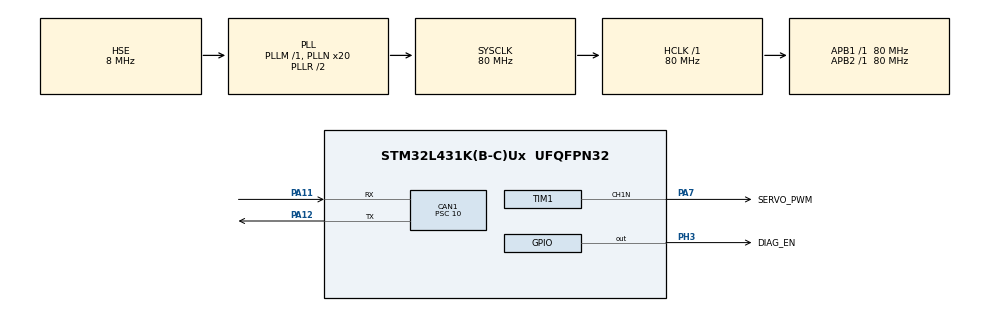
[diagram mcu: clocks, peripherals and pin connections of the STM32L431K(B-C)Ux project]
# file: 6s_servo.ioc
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CAN1.BS1=CAN_BS1_5TQ
CAN1.BS2=CAN_BS2_2TQ
CAN1.CalculateBaudRate=1000000
CAN1.CalculateTimeBit=1000
CAN1.CalculateTimeQuantum=125.0
CAN1.Prescaler=10
Mcu.Family=STM32L4
Mcu.Name=STM32L431K(B-C)Ux
Mcu.Package=UFQFPN32
NVIC.CAN1_RX0_IRQn=true\:0\:0\:false\:false\:true\:true\:true\:true
NVIC.PriorityGroup=NVIC_PRIORITYGROUP_4
PA0.Mode=HSE-External-Clock-Source-for-LittleOrca
PA0.Signal=RCC_CK_IN
PA11.Mode=CAN_Activate
PA11.Signal=CAN1_RX
PA12.Mode=CAN_Activate
PA12.Signal=CAN1_TX
PA13\ (JTMS-SWDIO).Mode=Trace_Asynchronous_SW
PA13\ (JTMS-SWDIO).Signal=SYS_JTMS-SWDIO
PA14\ (JTCK-SWCLK).Mode=Trace_Asynchronous_SW
PA14\ (JTCK-SWCLK).Signal=SYS_JTCK-SWCLK
PA7.GPIO_Label=SERVO_PWM
PA7.Mode=PWM Generation1 CH1N
PA7.Signal=TIM1_CH1N
PB3\ (JTDO-TRACESWO).Mode=Trace_Asynchronous_SW
PB3\ (JTDO-TRACESWO).Signal=SYS_JTDO-SWO
PH3-BOOT0.GPIO_Label=DIAG_EN
PH3-BOOT0.GPIO_Speed=GPIO_SPEED_FREQ_VERY_HIGH
PH3-BOOT0.Signal=GPIO_Output
ProjectManager.HeapSize=0x200
ProjectManager.StackSize=0x400
ProjectManager.TargetToolchain=STM32CubeIDE
RCC.ADCFreq_Value=32000000
RCC.AHBFreq_Value=80000000
RCC.APB1Freq_Value=80000000
RCC.APB1TimFreq_Value=80000000
RCC.APB2Freq_Value=80000000
RCC.APB2TimFreq_Value=80000000
RCC.CortexFreq_Value=80000000
RCC.HCLKFreq_Value=80000000
RCC.HSE_VALUE=8000000
RCC.HSI48_VALUE=48000000
RCC.HSI_VALUE=16000000
RCC.LSE_VALUE=32768
RCC.MSI_VALUE=4000000
RCC.PLLN=20
RCC.PLLSourceVirtual=RCC_PLLSOURCE_HSE
RCC.SYSCLKFreq_VALUE=80000000
RCC.SYSCLKSource=RCC_SYSCLKSOURCE_PLLCLK
RCC.VCOOutputFreq_Value=160000000
TIM1.Channel-PWM\ Generation1\ CH1N=TIM_CHANNEL_1
TIM1.Period=63999
TIM1.Prescaler=24
VP_TIM1_VS_ClockSourceINT.Mode=Internal
board=custom

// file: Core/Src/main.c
/* USER CODE BEGIN Header */
/**
  ******************************************************************************
  * @file           : main.c
  * @brief          : Main program body
  ******************************************************************************
  * @attention
  *
  * Copyright (c) 2025 STMicroelectronics.
  * All rights reserved.
  *
  * This software is licensed under terms that can be found in the LICENSE file
  * in the root directory of this software component.
  * If no LICENSE file comes with this software, it is provided AS-IS.
  *
  ******************************************************************************
  */
/* USER CODE END Header */
#include "main.h"

/* USER CODE BEGIN Includes */
#include "can.h"
#include "dronecan_msgs.h"
#include "servo.h"
#include "pinecan.h"
/* USER CODE END Includes */

/* USER CODE BEGIN PTD */
extern struct uavcan_protocol_NodeStatus nodeStatus;
/* USER CODE END PTD */

CAN_HandleTypeDef hcan1;

TIM_HandleTypeDef htim1;

void SystemClock_Config(void);
static void MX_GPIO_Init(void);
static void MX_CAN1_Init(void);
static void MX_TIM1_Init(void);

int main(void)
{

  /* USER CODE BEGIN 1 */
  nodeStatus.health = UAVCAN_PROTOCOL_NODESTATUS_HEALTH_OK;
  nodeStatus.mode = UAVCAN_PROTOCOL_NODESTATUS_MODE_INITIALIZATION;
  nodeStatus.sub_mode = 0;
  nodeStatus.vendor_specific_status_code = 0;
  /* USER CODE END 1 */

  /* MCU Configuration--------------------------------------------------------*/

  /* Reset of all peripherals, Initializes the Flash interface and the Systick. */
  HAL_Init();

  /* Configure the system clock */
  SystemClock_Config();

  /* Initialize all configured peripherals */
  MX_GPIO_Init();
  MX_CAN1_Init();
  MX_TIM1_Init();
  /* USER CODE BEGIN 2 */
  initServos();
  initCAN();

  nodeStatus.mode = UAVCAN_PROTOCOL_NODESTATUS_MODE_OPERATIONAL;
  /* USER CODE END 2 */

  /* Infinite loop */
  /* USER CODE BEGIN WHILE */
  static uint32_t currentTick = 0;
  while (1)
  {
    if (HAL_GetTick() != currentTick) {
      currentTick = HAL_GetTick();
      pinecan1ms();
    }

    /* USER CODE END WHILE */

  }
}

void SystemClock_Config(void)
{
  RCC_OscInitTypeDef RCC_OscInitStruct = {0};
  RCC_ClkInitTypeDef RCC_ClkInitStruct = {0};

  /** Configure the main internal regulator output voltage
  */
  if (HAL_PWREx_ControlVoltageScaling(PWR_REGULATOR_VOLTAGE_SCALE1) != HAL_OK)
  {
    Error_Handler();
  }

  /** Initializes the RCC Oscillators according to the specified parameters
  * in the RCC_OscInitTypeDef structure.
  */
  RCC_OscInitStruct.OscillatorType = RCC_OSCILLATORTYPE_HSE;
  RCC_OscInitStruct.HSEState = RCC_HSE_BYPASS;
  RCC_OscInitStruct.PLL.PLLState = RCC_PLL_ON;
  RCC_OscInitStruct.PLL.PLLSource = RCC_PLLSOURCE_HSE;
  RCC_OscInitStruct.PLL.PLLM = 1;
  RCC_OscInitStruct.PLL.PLLN = 20;
  RCC_OscInitStruct.PLL.PLLP = RCC_PLLP_DIV7;
  RCC_OscInitStruct.PLL.PLLQ = RCC_PLLQ_DIV2;
  RCC_OscInitStruct.PLL.PLLR = RCC_PLLR_DIV2;
  if (HAL_RCC_OscConfig(&RCC_OscInitStruct) != HAL_OK)
  {
    Error_Handler();
  }

  /** Initializes the CPU, AHB and APB buses clocks
  */
  RCC_ClkInitStruct.ClockType = RCC_CLOCKTYPE_HCLK|RCC_CLOCKTYPE_SYSCLK
                              |RCC_CLOCKTYPE_PCLK1|RCC_CLOCKTYPE_PCLK2;
  RCC_ClkInitStruct.SYSCLKSource = RCC_SYSCLKSOURCE_PLLCLK;
  RCC_ClkInitStruct.AHBCLKDivider = RCC_SYSCLK_DIV1;
  RCC_ClkInitStruct.APB1CLKDivider = RCC_HCLK_DIV1;
  RCC_ClkInitStruct.APB2CLKDivider = RCC_HCLK_DIV1;

  if (HAL_RCC_ClockConfig(&RCC_ClkInitStruct, FLASH_LATENCY_4) != HAL_OK)
  {
    Error_Handler();
  }
}

static void MX_CAN1_Init(void)
{

  hcan1.Instance = CAN1;
  hcan1.Init.Prescaler = 10;
  hcan1.Init.Mode = CAN_MODE_NORMAL;
  hcan1.Init.SyncJumpWidth = CAN_SJW_1TQ;
  hcan1.Init.TimeSeg1 = CAN_BS1_5TQ;
  hcan1.Init.TimeSeg2 = CAN_BS2_2TQ;
  hcan1.Init.TimeTriggeredMode = DISABLE;
  hcan1.Init.AutoBusOff = DISABLE;
  hcan1.Init.AutoWakeUp = DISABLE;
  hcan1.Init.AutoRetransmission = DISABLE;
  hcan1.Init.ReceiveFifoLocked = DISABLE;
  hcan1.Init.TransmitFifoPriority = DISABLE;
  if (HAL_CAN_Init(&hcan1) != HAL_OK)
  {
    Error_Handler();
  }

}

static void MX_TIM1_Init(void)
{

  TIM_ClockConfigTypeDef sClockSourceConfig = {0};
  TIM_MasterConfigTypeDef sMasterConfig = {0};
  TIM_OC_InitTypeDef sConfigOC = {0};
  TIM_BreakDeadTimeConfigTypeDef sBreakDeadTimeConfig = {0};

  htim1.Instance = TIM1;
  htim1.Init.Prescaler = 24;
  htim1.Init.CounterMode = TIM_COUNTERMODE_UP;
  htim1.Init.Period = 63999;
  htim1.Init.ClockDivision = TIM_CLOCKDIVISION_DIV1;
  htim1.Init.RepetitionCounter = 0;
  htim1.Init.AutoReloadPreload = TIM_AUTORELOAD_PRELOAD_DISABLE;
  if (HAL_TIM_Base_Init(&htim1) != HAL_OK)
  {
    Error_Handler();
  }
  sClockSourceConfig.ClockSource = TIM_CLOCKSOURCE_INTERNAL;
  if (HAL_TIM_ConfigClockSource(&htim1, &sClockSourceConfig) != HAL_OK)
  {
    Error_Handler();
  }
  if (HAL_TIM_PWM_Init(&htim1) != HAL_OK)
  {
    Error_Handler();
  }
  sMasterConfig.MasterOutputTrigger = TIM_TRGO_RESET;
  sMasterConfig.MasterOutputTrigger2 = TIM_TRGO2_RESET;
  sMasterConfig.MasterSlaveMode = TIM_MASTERSLAVEMODE_DISABLE;
  if (HAL_TIMEx_MasterConfigSynchronization(&htim1, &sMasterConfig) != HAL_OK)
  {
    Error_Handler();
  }
  sConfigOC.OCMode = TIM_OCMODE_PWM1;
  sConfigOC.Pulse = 0;
  sConfigOC.OCPolarity = TIM_OCPOLARITY_HIGH;
  sConfigOC.OCNPolarity = TIM_OCNPOLARITY_HIGH;
  sConfigOC.OCFastMode = TIM_OCFAST_DISABLE;
  sConfigOC.OCIdleState = TIM_OCIDLESTATE_RESET;
  sConfigOC.OCNIdleState = TIM_OCNIDLESTATE_RESET;
  if (HAL_TIM_PWM_ConfigChannel(&htim1, &sConfigOC, TIM_CHANNEL_1) != HAL_OK)
  {
    Error_Handler();
  }
  sBreakDeadTimeConfig.OffStateRunMode = TIM_OSSR_DISABLE;
  sBreakDeadTimeConfig.OffStateIDLEMode = TIM_OSSI_DISABLE;
  sBreakDeadTimeConfig.LockLevel = TIM_LOCKLEVEL_OFF;
  sBreakDeadTimeConfig.DeadTime = 0;
  sBreakDeadTimeConfig.BreakState = TIM_BREAK_DISABLE;
  sBreakDeadTimeConfig.BreakPolarity = TIM_BREAKPOLARITY_HIGH;
  sBreakDeadTimeConfig.BreakFilter = 0;
  sBreakDeadTimeConfig.Break2State = TIM_BREAK2_DISABLE;
  sBreakDeadTimeConfig.Break2Polarity = TIM_BREAK2POLARITY_HIGH;
  sBreakDeadTimeConfig.Break2Filter = 0;
  sBreakDeadTimeConfig.AutomaticOutput = TIM_AUTOMATICOUTPUT_DISABLE;
  if (HAL_TIMEx_ConfigBreakDeadTime(&htim1, &sBreakDeadTimeConfig) != HAL_OK)
  {
    Error_Handler();
  }
  HAL_TIM_MspPostInit(&htim1);

}

static void MX_GPIO_Init(void)
{
  GPIO_InitTypeDef GPIO_InitStruct = {0};

  /* GPIO Ports Clock Enable */
  __HAL_RCC_GPIOA_CLK_ENABLE();
  __HAL_RCC_GPIOB_CLK_ENABLE();
  __HAL_RCC_GPIOH_CLK_ENABLE();

  /*Configure GPIO pin Output Level */
  HAL_GPIO_WritePin(DIAG_EN_GPIO_Port, DIAG_EN_Pin, GPIO_PIN_RESET);

  /*Configure GPIO pin : DIAG_EN_Pin */
  GPIO_InitStruct.Pin = DIAG_EN_Pin;
  GPIO_InitStruct.Mode = GPIO_MODE_OUTPUT_PP;
  GPIO_InitStruct.Pull = GPIO_NOPULL;
  GPIO_InitStruct.Speed = GPIO_SPEED_FREQ_VERY_HIGH;
  HAL_GPIO_Init(DIAG_EN_GPIO_Port, &GPIO_InitStruct);

}

void Error_Handler(void)
{
  /* USER CODE BEGIN Error_Handler_Debug */
  /* User can add his own implementation to report the HAL error return state */
  __disable_irq();
  while (1)
  {
    __NOP();
  }
  /* USER CODE END Error_Handler_Debug */
}
